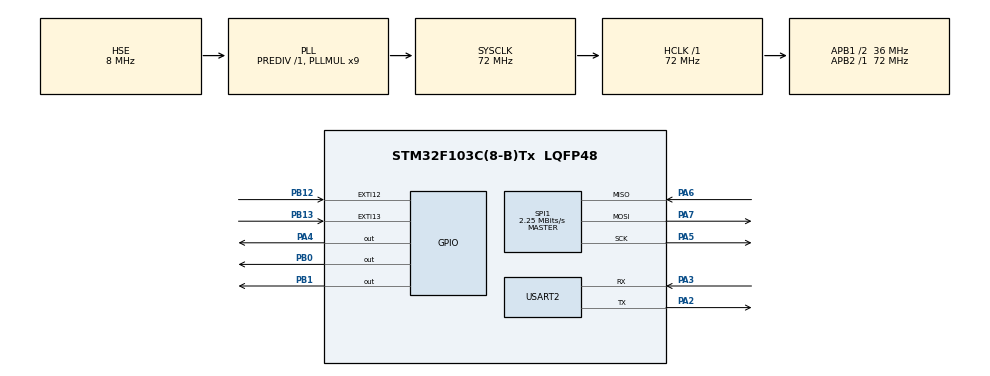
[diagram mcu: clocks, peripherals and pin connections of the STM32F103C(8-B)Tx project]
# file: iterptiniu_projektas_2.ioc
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Mcu.Family=STM32F1
Mcu.Name=STM32F103C(8-B)Tx
Mcu.Package=LQFP48
NVIC.EXTI15_10_IRQn=true\:0\:0\:false\:false\:true\:true\:true\:true
NVIC.PriorityGroup=NVIC_PRIORITYGROUP_4
PA2.Mode=Asynchronous
PA2.Signal=USART2_TX
PA3.Mode=Asynchronous
PA3.Signal=USART2_RX
PA4.Signal=GPIO_Output
PA5.Mode=Full_Duplex_Master
PA5.Signal=SPI1_SCK
PA6.Mode=Full_Duplex_Master
PA6.Signal=SPI1_MISO
PA7.Mode=Full_Duplex_Master
PA7.Signal=SPI1_MOSI
PB0.Signal=GPIO_Output
PB1.Signal=GPIO_Output
PB12.GPIO_ModeDefaultEXTI=GPIO_MODE_IT_RISING_FALLING
PB12.Signal=GPXTI12
PB13.GPIO_ModeDefaultEXTI=GPIO_MODE_IT_RISING_FALLING
PB13.GPIO_PuPd=GPIO_NOPULL
PB13.Signal=GPXTI13
PD0-OSC_IN.Mode=HSE-External-Oscillator
PD0-OSC_IN.Signal=RCC_OSC_IN
PD1-OSC_OUT.Mode=HSE-External-Oscillator
PD1-OSC_OUT.Signal=RCC_OSC_OUT
ProjectManager.HeapSize=0x200
ProjectManager.StackSize=0x400
ProjectManager.TargetToolchain=Makefile
RCC.AHBFreq_Value=72000000
RCC.APB1CLKDivider=RCC_HCLK_DIV2
RCC.APB1Freq_Value=36000000
RCC.APB1TimFreq_Value=72000000
RCC.APB2Freq_Value=72000000
RCC.APB2TimFreq_Value=72000000
RCC.HCLKFreq_Value=72000000
RCC.PLLMUL=RCC_PLL_MUL9
RCC.PLLSourceVirtual=RCC_PLLSOURCE_HSE
RCC.SYSCLKFreq_VALUE=72000000
RCC.SYSCLKSource=RCC_SYSCLKSOURCE_PLLCLK
RCC.USBFreq_Value=72000000
SPI1.BaudRatePrescaler=SPI_BAUDRATEPRESCALER_32
SPI1.CalculateBaudRate=2.25 MBits/s
SPI1.Direction=SPI_DIRECTION_2LINES
SPI1.Mode=SPI_MODE_MASTER
SPI1.VirtualType=VM_MASTER
TIM2.Prescaler=71
USART2.VirtualMode=VM_ASYNC
VP_SYS_VS_ND.Mode=No_Debug
VP_TIM2_VS_ClockSourceINT.Mode=Internal
board=custom

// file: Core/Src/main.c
/* USER CODE BEGIN Header */
/**
  ******************************************************************************
  * @file           : main.c
  * @brief          : Main program body
  ******************************************************************************
  * @attention
  *
  * Copyright (c) 2026 STMicroelectronics.
  * All rights reserved.
  *
  * This software is licensed under terms that can be found in the LICENSE file
  * in the root directory of this software component.
  * If no LICENSE file comes with this software, it is provided AS-IS.
  *
  ******************************************************************************
  */
/* USER CODE END Header */
#include "main.h"
#include "spi.h"
#include "tim.h"
#include "usart.h"
#include "gpio.h"

/* USER CODE BEGIN Includes */
#include "ssd1306.h"//oled ekano biblioteka
#include "ssd1306_fonts.h"//oled ekrano fontai
#include "DHT.h"//sensoriu biblioteka
#include <stdio.h>
/* USER CODE END Includes */

/* USER CODE BEGIN PV */
DHT_t dht22;// dht22 struktura
DHT_t dht11;// dht11 struktura
bool dht22_ok = false;  // ar pavyko nuskaityt sensoriu
bool dht11_ok = false;  // ar pavyko nuskaityt sensoriu
bool dht11_initialized = false; // ar DHT11 filtras jau inicializuotas
bool dht22_initialized = false; // ar DHT22 filtras jau inicializuotas
/* USER CODE END PV */

void SystemClock_Config(void);

/* USER CODE BEGIN 0 */
uint8_t TxBuffer[20];
uint8_t RxBuffer[20];
// UART klaidos apdorojimo funkcija
void HandleError()
{
 uint32_t uart_err;
 uart_err=HAL_UART_GetError(&huart2);
}
// Išorinio pertraukimo (EXTI) callback - iškvieciamas kai keiciasi GPIO busena
// Naudojamas DHT jutikliu duomenu nuskaitymui per laikmacio pertraukimus
void HAL_GPIO_EXTI_Callback(uint16_t GPIO_Pin)
{

    if(GPIO_Pin == dht11.pin)
        DHT_pinChangeCallBack(&dht11);

    if(GPIO_Pin == dht22.pin)
        DHT_pinChangeCallBack(&dht22);
}
/* USER CODE END 0 */

int main(void)
{

  /* MCU Configuration--------------------------------------------------------*/

  /* Reset of all peripherals, Initializes the Flash interface and the Systick. */
  HAL_Init();

  /* Configure the system clock */
  SystemClock_Config();

  /* Initialize all configured peripherals */
  MX_GPIO_Init();
  MX_SPI1_Init();
  MX_TIM2_Init();
  MX_USART2_UART_Init();
  /* USER CODE BEGIN 2 */
  //HAL_TIM_Base_Start(&htim2);

  // OLED ekrano maitinimo reset seka
  HAL_GPIO_WritePin(GPIOB, GPIO_PIN_0, GPIO_PIN_RESET);
  HAL_Delay(100);
  HAL_GPIO_WritePin(GPIOB, GPIO_PIN_0, GPIO_PIN_SET);
  HAL_Delay(100);

  // Inicializuoja ir išvalo OLED ekrana
  ssd1306_Init();
  ssd1306_Fill(Black);
  ssd1306_UpdateScreen();

 // Inicializuoja DHT jutiklius
  DHT_init(&dht22, DHT_Type_AM2301, &htim2, 72, GPIOB, GPIO_PIN_12);
  DHT_init(&dht11, DHT_Type_DHT11, &htim2, 72, GPIOB, GPIO_PIN_13);

  /* USER CODE END 2 */

  /* Infinite loop */
  /* USER CODE BEGIN WHILE */
  HAL_Delay(100);

 //saugo paskutinio atnaujinimo laika (ms)
  uint32_t last_dht11 = 0;
  uint32_t last_dht22 = 0;
  uint32_t last_oled = 0;//laikmacio kintamieji
  uint32_t last_uart = 0;
  float t2 = 0, h2 = 0;
  float t1 = 0, h1 = 0;//sensoriu kintamieji
// Neapdoroti jutikliu rodmenys
  float t2_f = 0, h2_f = 0;//filtro kintamieji
  float t1_f = 0, h1_f = 0;
 // IIR (EMA) filtro išejimo kintamieji - filtruoti (vidurkinki) rodmenys
  float alpha_dht11 = 0.06f;
  float alpha_dht22 = 0.11f;
  // Laukiama kol jutikliai stabilizuojasi po ijungimo
  HAL_Delay(3000);
  while (1)
  {
    uint32_t now = HAL_GetTick();// dabartine laikmacio busena

    if(now - last_dht11 >= 1000)//dht11 pagal datasheeta nuskaitomas kas 1s
  {
      last_dht11 = now;

      dht11_ok = DHT_readData(&dht11, &t1, &h1);// nuskaito dregme ir temperatura
      if(dht11_ok)
      {

        if(!dht11_initialized)
        {
           // Pirma karta - inicializuoja filtra tiesiogiai nuskaitytu dydžiu
            h1_f = h1;
            dht11_initialized = true;
        }
        else
        {
                   // IIR filtras
            h1_f = h1_f + alpha_dht11 * (h1 - h1_f);
        }

      }
  }

  if(now - last_dht22 >= 2000)//dht22 pagal datasheet nuskaitomas kas 2s
  {
     last_dht22 = now;

     dht22_ok = DHT_readData(&dht22, &t2, &h2);// nuskaito dregme ir temperatura
     if(dht22_ok)
      {

        if(!dht22_initialized)
        {
            // Pirma karta - inicializuoja filtra tiesiogiai nuskaitytu dydžiu
            h2_f = h2;
            dht22_initialized = true;
        }
        else
        {
            // IIR filtras
            h2_f = h2_f + alpha_dht22 * (h2 - h2_f);
        }
      }
  }

  if(now - last_oled >= 10000)//oledas atnaujinamas kas 10s
  {
    last_oled = now;
    ssd1306_Fill(Black);// išvalo ekrana

    // DHT22 dregmes rodymas
    if(dht22_ok)
    {
        char tStr[32], hStr[32];

        int h2_whole = (int)h2_f;
        int h2_frac  = abs((int)(h2_f * 10) % 10);

        sprintf(hStr, "H:%d.%d%%", h2_whole, h2_frac);
        ssd1306_SetCursor(0, 0);

        ssd1306_SetCursor(0, 11);
      // Jei dregme už 30-70% ribu - rodo ispejima
        if(h2_f < 30.0f || h2_f > 70.0f)
          ssd1306_WriteString("Uz 30_70 proc ribu", Font_7x10, White);
        else{
          ssd1306_WriteString(hStr, Font_7x10, White);

        }
    }
    else
    {
           // Jutiklio klaida
        ssd1306_SetCursor(0, 0);
        ssd1306_WriteString("Sensor Error", Font_11x18, White);
    }

       // DHT11 dregmes rodymas
    if(dht11_ok)
    {
        char  hStr[32];

        int h1_whole = (int)h1_f;
        int h1_frac  = abs((int)(h1_f * 10) % 10);
        sprintf(hStr, "H:%d.%d%%", h1_whole, h1_frac);
        ssd1306_SetCursor(0, 33);
         // Jei dregme už 30-70% ribu - rodo ispejima
        if(h1_f < 30.0f || h1_f > 70.0f)
        {
            ssd1306_WriteString("Uz 30_70 proc ribu", Font_7x10, White);
        }
        else
        {

            ssd1306_WriteString(hStr, Font_7x10, White);

        }
    }
    else
    {
         // Jutiklio klaida
        ssd1306_SetCursor(0, 22);
        ssd1306_WriteString("Sensor Error", Font_11x18, White);
    }
    if(dht11_ok && dht22_ok){ // Kanalu skirtumo skaiciavimas ir rodymas

    float h_diff = h1_f - h2_f;
    char hvidStr[32];
    int h_diff_whole = (int)h_diff;
    int h_diff_frac  = abs((int)(h_diff * 10) % 10);
     //neigiamas skirtumas kai sveikoji dalis = 0
      if(h_diff < 0 && h_diff_whole == 0)
        sprintf(hvidStr, "Skirt:-%d.%d%%", h_diff_whole, h_diff_frac);
      else
        sprintf(hvidStr, "Skirt:%d.%d%%", h_diff_whole, h_diff_frac);

    ssd1306_SetCursor(0, 44);
    ssd1306_WriteString(hvidStr, Font_7x10, White);

    }
    else {
      ssd1306_SetCursor(0, 44);
      ssd1306_WriteString("Sensor Error", Font_11x18, White);
    }
    ssd1306_UpdateScreen();

  }
   // UART duomenu siuntimas i kompiuteri kas 1s
  if(now - last_uart >= 1000)
  {
    last_uart = now;
    char uartBuf[80];
    char h1_str[20], h2_str[20], diff_str[20];
     // DHT11 duomenu formatavimas
    if(dht11_ok)
    {
    if(h1_f < 30.0f || h1_f > 70.0f)
        {
            sprintf(h1_str, "PERZENGTA 30-70%%");
        }
        else
        {
            int h1_w = (int)h1_f;
            int h1_fr = abs((int)(h1_f * 10) % 10);
            sprintf(h1_str, "%d.%d%%", h1_w, h1_fr);
        }
    }
    else
        sprintf(h1_str, "ERROR");
      // DHT22 duomenu formatavimas
    if(dht22_ok)
    {
        if(h2_f < 30.0f || h2_f > 70.0f)
    {
        sprintf(h2_str, "PERZENGTA 30-70%%");
    }
    else
    {
        int h2_w = (int)h2_f;
        int h2_fr = abs((int)(h2_f * 10) % 10);
        sprintf(h2_str, "%d.%d%%", h2_w, h2_fr);
    }
    }
    else
        sprintf(h2_str, "ERROR");

      // Skirtumo tarp kanalu formatavimas
    if(dht11_ok && dht22_ok)
    {
        float diff = h1_f - h2_f;
        int diff_w = (int)diff;
        int diff_fr = abs((int)(diff * 10) % 10);
         // Specialus atvejis: neigiamas skirtumas kai sveikoji dalis = 0
        if(diff < 0 && diff_w == 0)
            sprintf(diff_str, "-%d.%d%%", diff_w, diff_fr);
        else
            sprintf(diff_str, "%d.%d%%", diff_w, diff_fr);
    }
    else
        sprintf(diff_str, "ERROR");
      // Suformuoja ir siuncia UART eilute i kompiuteri
    sprintf(uartBuf, "H1:%s H2:%s Skirt:%s\r\n", h1_str, h2_str, diff_str);
    HAL_UART_Transmit(&huart2, (uint8_t*)uartBuf, strlen(uartBuf), 100);
  }

    //
    /* USER CODE END WHILE */

  }
}

void SystemClock_Config(void)
{
  RCC_OscInitTypeDef RCC_OscInitStruct = {0};
  RCC_ClkInitTypeDef RCC_ClkInitStruct = {0};

  /** Initializes the RCC Oscillators according to the specified parameters
  * in the RCC_OscInitTypeDef structure.
  */
  RCC_OscInitStruct.OscillatorType = RCC_OSCILLATORTYPE_HSE;
  RCC_OscInitStruct.HSEState = RCC_HSE_ON;
  RCC_OscInitStruct.HSEPredivValue = RCC_HSE_PREDIV_DIV1;
  RCC_OscInitStruct.HSIState = RCC_HSI_ON;
  RCC_OscInitStruct.PLL.PLLState = RCC_PLL_ON;
  RCC_OscInitStruct.PLL.PLLSource = RCC_PLLSOURCE_HSE;
  RCC_OscInitStruct.PLL.PLLMUL = RCC_PLL_MUL9;
  if (HAL_RCC_OscConfig(&RCC_OscInitStruct) != HAL_OK)
  {
    Error_Handler();
  }

  /** Initializes the CPU, AHB and APB buses clocks
  */
  RCC_ClkInitStruct.ClockType = RCC_CLOCKTYPE_HCLK|RCC_CLOCKTYPE_SYSCLK
                              |RCC_CLOCKTYPE_PCLK1|RCC_CLOCKTYPE_PCLK2;
  RCC_ClkInitStruct.SYSCLKSource = RCC_SYSCLKSOURCE_PLLCLK;
  RCC_ClkInitStruct.AHBCLKDivider = RCC_SYSCLK_DIV1;
  RCC_ClkInitStruct.APB1CLKDivider = RCC_HCLK_DIV2;
  RCC_ClkInitStruct.APB2CLKDivider = RCC_HCLK_DIV1;

  if (HAL_RCC_ClockConfig(&RCC_ClkInitStruct, FLASH_LATENCY_2) != HAL_OK)
  {
    Error_Handler();
  }
}

void Error_Handler(void)
{
  __disable_irq();
  while (1)
  {
  }
}
